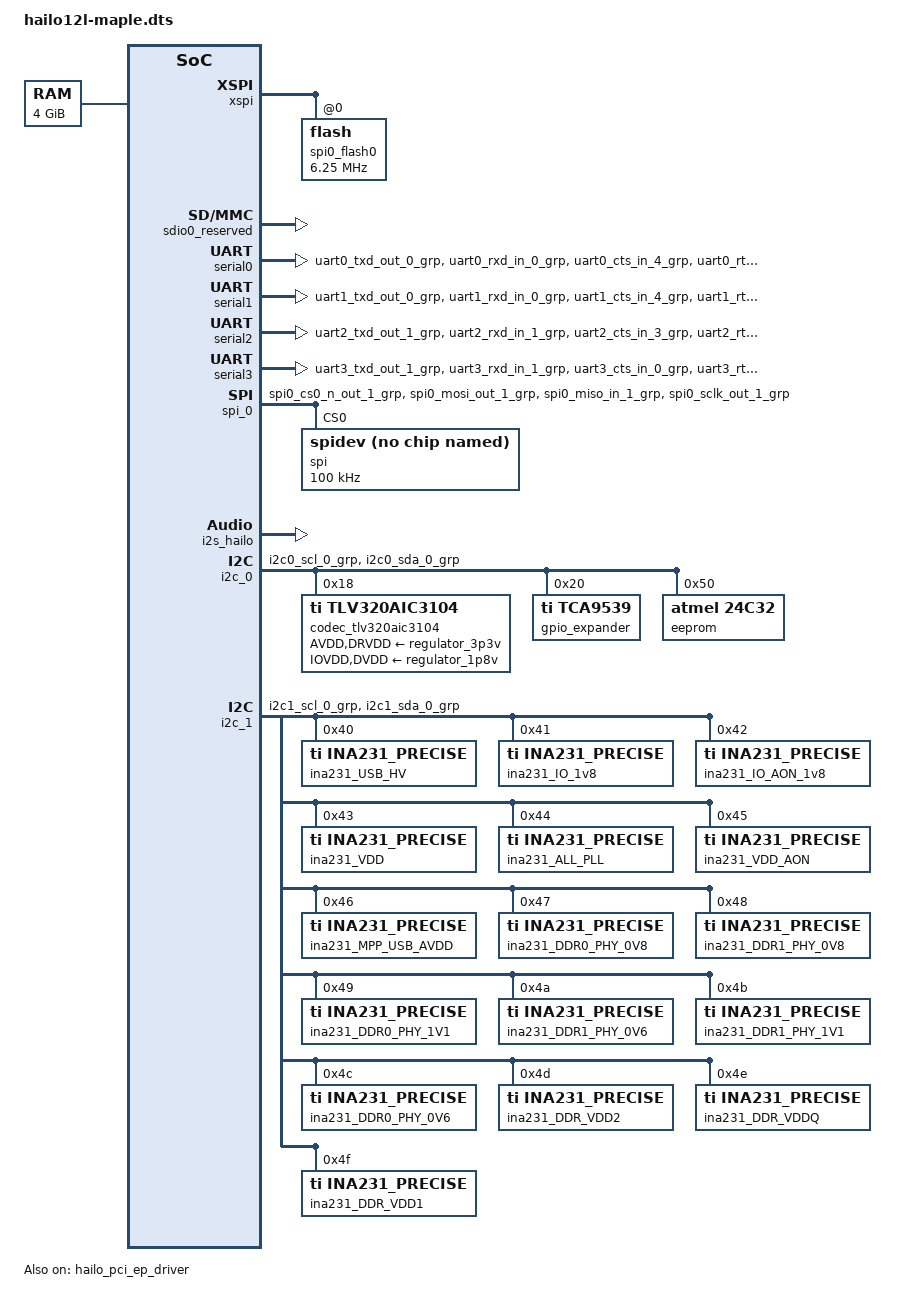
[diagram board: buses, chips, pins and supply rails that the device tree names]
// SPDX-License-Identifier:     GPL-2.0
/*
 * Copyright (c) 2019-2025 Hailo Technologies Ltd. All rights reserved.
 */

/dts-v1/;
#include "hailo12l-base.dtsi"

/ {
    memory {
        device_type = "memory";
        reg = <0x00000000 0x80000000 0x00000001 0x00000000>;
    };
};

&xspi {
    status = "okay";

    spi0_flash0: flash@0 {
        /* values for MT25QU01G */
        spi-max-frequency = <6250000>; /* 90Mhz in DTR, 166Mhz in STR */
        cdns,read-delay = <7>;
        cdns,tshsl-ns = <30>;
        cdns,tsd2d-ns = <30>;
        cdns,tchsh-ns = <5>;
        cdns,tslch-ns = <3>;
        pinctrl-names = "default";
        pinctrl-0 = <&pinctrl_flash_cs0_n>,
                    <&pinctrl_flash_dq_0_mosi>,
                    <&pinctrl_flash_dq_1_miso>,
                    <&pinctrl_flash_dq_2>,
                    <&pinctrl_flash_dq_3>,
                    <&pinctrl_flash_reset_n>,
                    <&pinctrl_flash_sclk>;

    };
};

&sdio0_reserved {
    status = "okay";
};

&sdio1 {
    status = "disabled";
    sdhci-caps = <0 0x01000000>; // Force VOLT33 capability
    sdhci-caps-mask = <0x00000002 0x00000000>;  // Disable support for SDR104
    bus-width = <4>;
    pinctrl-0 = <&pinctrl_SDIO_DATA0>, <&pinctrl_SDIO_DATA1> ,<&pinctrl_SDIO_DATA2>, <&pinctrl_SDIO_DATA3>,<&pinctrl_SDIO_CMD>,<&pinctrl_SDIO_SDCLK>;
    phy-config {
            card-is-emmc = <0x0>;
            cmd-pad-values = <0x1 0x3 0x1 0x1>; // txslew_ctrl_n, txslew_ctrl_p, weakpull_enable, rxsel
            dat-pad-values = <0x1 0x3 0x1 0x1>; // txslew_ctrl_n, txslew_ctrl_p, weakpull_enable, rxsel
            rst-pad-values = <0x1 0x3 0x1 0x1>; // txslew_ctrl_n, txslew_ctrl_p, weakpull_enable, rxsel
            clk-pad-values = <0x1 0x3 0x0 0x1>; // txslew_ctrl_n, txslew_ctrl_p, weakpull_enable, rxsel
            sdclkdl-cnfg = <0x0 0x50>; //extdly_en, cckdl_dc
            drive-strength = <0xC 0xC>; //pad_sp, pad_sn
    };
};

&soc{
    /* List all JTAG pinctrl phandles here */
    status = "okay";
    pinctrl-names = "default";
    pinctrl-0 = <&pinctrl_jtag_tck>, <&pinctrl_jtag_tdi>, <&pinctrl_jtag_tdo>,
                <&pinctrl_jtag_tms>, <&pinctrl_jtag_trstn_in>;
};

&serial0 {
    status = "okay";
    pinctrl-names = "default";
    pinctrl-0 = <&pinctrl_uart0_txd>, <&pinctrl_uart0_rxd>,<&pinctrl_gpio_7>,<&pinctrl_gpio_8>;
};

&serial1 {
    status = "okay";
    pinctrl-names = "default";
    pinctrl-0 = <&pinctrl_uart1_txd>, <&pinctrl_uart1_rxd>,<&pinctrl_gpio_9>,<&pinctrl_gpio_10>;
};

&serial2 {
    status = "okay";
    pinctrl-names = "default";
    pinctrl-0 = <&pinctrl_gpio_14>, <&pinctrl_gpio_13>,<&pinctrl_gpio_19>, <&pinctrl_gpio_20>;
};

&serial3 {
    status = "okay";
    pinctrl-names = "default";
    pinctrl-0 = <&pinctrl_gpio_16>, <&pinctrl_gpio_15> ,<&pinctrl_gpio_11>, <&pinctrl_gpio_12>;
};

&spi_0 {
    status = "okay";
    pinctrl-names = "default";
    pinctrl-0 = <&pinctrl_gpio_21>,
                <&pinctrl_gpio_22>,
                <&pinctrl_gpio_23>,
                <&pinctrl_gpio_24>;
    spi@0 {
        compatible = "spidev";
        reg = <0>;
        spi-max-frequency = <100000>;
    };
};

// OS TODO - I2S - pins are allocated but driver is not set. reference include "x_audio.dtsi"
&i2s_hailo {
    status = "okay";
    i2s_0_cpu: audio-controller-0@10d000 {
        status = "okay";
        pinctrl-names = "default";
        pinctrl-0 = <&pinctrl_i2s0_sck>,
                    <&pinctrl_i2s0_sdi>,
                    <&pinctrl_i2s0_sdo>,
                    <&pinctrl_i2s0_ws>;
        /* Possible audio-controller configuration to override into you specific board DTS.
         * - Master:
         *   - set one of the following:
         *     - HAILO_I2S_CTRL_CFG(0, XTAL);
         *     - HAILO_I2S_CTRL_CFG(0, PCLK);
         *     - HAILO_I2S_CTRL_CFG(0, FAST_ACLK);
         *     - HAILO_I2S_CTRL_CFG(0, EXTERNAL_MCLK, <OSC Hz>); - E.g: OSC Hz: 12288000
         * - Slave:
         *   - set: HAILO_I2S_CTRL_CFG(0, SLAVE_CLK); - default
         */
         HAILO_I2S_CTRL_CFG(0, PCLK);
    };
};




&i2c_0 {
    status = "okay";
    pinctrl-names = "default";
    pinctrl-0 = <&pinctrl_i2c0_scl>, <&pinctrl_i2c0_sda>;     /* these are non-muxable pins - leave this part for claiming the pins only for user display */

    codec_tlv320aic3104: tlv320aic3104@18 {
        #sound-dai-cells = <0>;
        compatible = "ti,tlv320aic3104";
        reg = <0x18>;
        /* @note, If using I2S Controller mode as:
         * - Master: set: ai3x-source-clk = "bclk";
         * - Slave: set: ai3x-source-clk = "mclk";
         */

        ai3x-source-clk = "bclk";
        ai3x-micbias-vg = <2>;
		/* Regulators */
		AVDD-supply = <&regulator_3p3v>;
		IOVDD-supply = <&regulator_1p8v>;
		DRVDD-supply = <&regulator_3p3v>;
		DVDD-supply = <&regulator_1p8v>;
    };

    gpio_expander: gpio@20 {
        compatible = "ti,tca9539";
        reg = <0x20>;
        gpio-controller;
        #gpio-cells = <2>;

        gpio-line-names =
        "EXP_PWR_EN", "EXP_BS_MODE_0", "EXP_BS_MODE_1", "EXP_BS_MODE_2",
        "EXP_BS_MODE_3", "PCIE_USB_L1_SEL", "SEL_EMMC_SD", "AON_PWR_CMD",
        "AON_PWR_STAT", "PWR_DCDC_CTRL", "BS_INIT_DBG_BUS", "BS_REF_CLK",
        "PWR_CTRL_EN", "D3_COLD_EN", "GPIO_18", "BS_CTRL_N";
    };

    regulator_0p8v: regulator-0p8v@40 {
       status = "disabled";
       compatible = "ti,tps62872";
       reg = <0x40>;
       regulator-name = "+0.8V";
       regulator-min-microvolt = <400000>;
       regulator-max-microvolt = <1037500>;
       regulator-initial-mode = <2>;
    };

    regulator_1p8v_tps62868: regulator_1p8v_tps62868@41 {
       status = "disabled";
       compatible = "ti,tps62868";
       reg = <0x41>;
       regulator-name = "+1.8V";
       regulator-min-microvolt = <400000>;
       regulator-max-microvolt = <1037500>;
       regulator-initial-mode = <2>;
    };

    eeprom@50 {
		compatible = "atmel,24c32";
		reg = <0x50>;
		pagesize = <32>;
	};
};

&i2c_1 {
    status = "okay";
    pinctrl-names = "default";
    pinctrl-0 = <&pinctrl_i2c1_scl>, <&pinctrl_i2c1_sda>;     /* these are non-muxable pins - leave this part for claiming the pins only for user display */

    ina231_USB_HV: USB_HV@40 {
        compatible = "ti,ina231_precise";
        reg = <0x40>;
        shunt-resistor = <10000>;
        max-current = <1>;
    };
    ina231_IO_1v8: IO_1v8@41 {
        compatible = "ti,ina231_precise";
        reg = <0x41>;
        shunt-resistor = <50>;
        max-current = <145>;
    };
    ina231_IO_AON_1v8: IO_AON_1v8@42 {
        compatible = "ti,ina231_precise";
        reg = <0x42>;
        shunt-resistor = <150>;
        max-current = <65>;
    };
    ina231_VDD: VDD@43 {
        compatible = "ti,ina231_precise";
        reg = <0x43>;
        shunt-resistor = <1>;
        max-current = <5000>;
    };
    ina231_ALL_PLL: ALL_PLL@44 {
        compatible = "ti,ina231_precise";
        reg = <0x44>;
        shunt-resistor = <200>;
        max-current = <22>;
    };
    ina231_VDD_AON: VDD_AON@45 {
        compatible = "ti,ina231_precise";
        reg = <0x45>;
        shunt-resistor = <10>;
        max-current = <250>;
    };
    ina231_MPP_USB_AVDD: MPP_USB_AVDD@46 {
        compatible = "ti,ina231_precise";
        reg = <0x46>;
        shunt-resistor = <50>;
        max-current = <159>;
    };
    ina231_DDR0_PHY_0V8: DDR0_PHY_0V8@47 {
        compatible = "ti,ina231_precise";
        reg = <0x47>;
        shunt-resistor = <2>;
        max-current = <1425>;
    };
    ina231_DDR1_PHY_0V8: DDR1_PHY_0V8@48 {
        compatible = "ti,ina231_precise";
        reg = <0x48>;
        shunt-resistor = <2>;
        max-current = <1425>;
    };
    ina231_DDR0_PHY_1V1: DDR0_PHY_1V1@49 {
        compatible = "ti,ina231_precise";
        reg = <0x49>;
        shunt-resistor = <50>;
        max-current = <152>;
    };
    ina231_DDR1_PHY_0V6: DDR1_PHY_0V6@4a {
        compatible = "ti,ina231_precise";
        reg = <0x4a>;
        shunt-resistor = <2>;
        max-current = <826>;
    };
    ina231_DDR1_PHY_1V1: DDR1_PHY_1V1@4b {
        compatible = "ti,ina231_precise";
        reg = <0x4b>;
        shunt-resistor = <50>;
        max-current = <152>;
    };
    ina231_DDR0_PHY_0V6: DDR0_PHY_0V6@4c {
        compatible = "ti,ina231_precise";
        reg = <0x4c>;
        shunt-resistor = <2>;
        max-current = <826>;
    };
    ina231_DDR_VDD2: DDR_VDD2@4d {
        compatible = "ti,ina231_precise";
        reg = <0x4d>;
        shunt-resistor = <10>;
        max-current = <689>;
    };
    ina231_DDR_VDDQ: DDR_VDDQ@4e {
        compatible = "ti,ina231_precise";
        reg = <0x4e>;
        shunt-resistor = <50>;
        max-current = <176>;
    };
    ina231_DDR_VDD1: DDR_VDD1@4f {
        compatible = "ti,ina231_precise";
        reg = <0x4f>;
        shunt-resistor = <1000>;
        max-current = <9>;
    };
};

&hailo_pci_ep_driver {
    status = "okay";
    pinctrl-names = "default";
    /*The Pcie pins should be claimed by this driver.*/
    pinctrl-0 = <&pinctrl_pcie_wake_n>,  <&pinctrl_pcie_clkreq_n>,
                <&pinctrl_pcie_perst_n_in>;
};

&pinctrl {
    /* IO_PAD_0  - I2C0_SCL - non-muxable */
    pinctrl_i2c0_scl: i2c0_scl {
        function = "i2c0_scl";
        groups = "i2c0_scl_0_grp";
    };

    /* IO_PAD_1  - I2C0_SDA - non-muxable */
    pinctrl_i2c0_sda: i2c0_sda {
        function = "i2c0_sda";
        groups = "i2c0_sda_0_grp";
    };

    /* IO_PAD_2  - I2C1_SCL - non-muxable */
    pinctrl_i2c1_scl: i2c1_scl {
        function = "i2c1_scl";
        groups = "i2c1_scl_0_grp";
    };

    /* IO_PAD_3  - I2C1_SDA - non-muxable */
        pinctrl_i2c1_sda: i2c1_sda {
        function = "i2c1_sda";
        groups = "i2c1_sda_0_grp";
    };

    /* IO_PAD_4 */
    pinctrl_uart0_rxd: uart0_rxd {
        function = "uart0_rxd_in";
        groups = "uart0_rxd_in_0_grp";
    };

    /* IO_PAD_5 */
    pinctrl_uart0_txd: uart0_txd {
        function = "uart0_txd_out";
        groups = "uart0_txd_out_0_grp";
    };

    /* IO_PAD_6 */
    pinctrl_uart1_rxd: uart1_rxd {
        function = "uart1_rxd_in";
        groups = "uart1_rxd_in_0_grp";
    };

    /* IO_PAD_7 */
    pinctrl_uart1_txd: uart1_txd {
        function = "uart1_txd_out";
        groups = "uart1_txd_out_0_grp";
    };

    /* IO_PAD_8 */
    pinctrl_i2s0_sck: i2s0_sck {
        function = "i2s0_sck";
        groups = "i2s0_sck_0_grp";
    };

    /* IO_PAD_9 */
    pinctrl_i2s0_sdi: i2s0_sdi0 {
        function = "i2s0_sdi0_in";
        groups = "i2s0_sdi0_in_0_grp";
    };

    /* IO_PAD_10 */
    pinctrl_i2s0_sdo: i2s0_sdo0 {
        function = "i2s0_sdo0_out";
        groups = "i2s0_sdo0_out_0_grp";
    };

    /* IO_PAD_11 */
    pinctrl_i2s0_ws: i2s0_ws {
        function = "i2s0_ws";
        groups = "i2s0_ws_0_grp";
    };

    /* IO_PAD_12 */
	pinctrl_flash_cs0_n: flash_cs0_n_out {
	    function = "flash_spi_cs_0_n_out";
        groups = "flash_spi_cs_0_n_out_grp";
    };

    /* IO_PAD_13 */
    pinctrl_flash_dq_0_mosi: flash_dq_0_mosi_in {
	    function = "flash_spi_dq_0";
        groups = "flash_spi_dq_0_grp";
    };

    /* IO_PAD_14 */
    pinctrl_flash_dq_1_miso: flash_dq_1_miso_in {
	    function = "flash_spi_dq_1";
        groups = "flash_spi_dq_1_grp";
    };

    /* IO_PAD_15 */
    pinctrl_flash_dq_2: flash_dq_2_in {
	    function = "flash_spi_dq_2";
        groups = "flash_spi_dq_2_grp";
    };

    /* IO_PAD_16 */
    pinctrl_flash_dq_3: flash_dq_3_in {
	    function = "flash_spi_dq_3";
        groups = "flash_spi_dq_3_grp";
    };

    /* IO_PAD_17 */
    pinctrl_flash_reset_n: flash_reset_n_out {
	    function = "flash_spi_reset_n_out";
        groups = "flash_spi_reset_n_out_grp";
    };

    /* IO_PAD_18 */
    pinctrl_flash_sclk: flash_sclk_out {
	    function = "flash_spi_sclk_out";
        groups = "flash_spi_sclk_out_grp";
    };


    /* IO_PAD_19 */
    pinctrl_pcie_wake_n: pcie_wake_n {
        function = "pcie_wake_n";
        groups = "pcie_wake_n_grp";
    };

    /* IO_PAD_20 */
    pinctrl_pcie_clkreq_n: pcie_clkreq_n {
        function = "pcie_clkreq_n";
        groups = "pcie_clkreq_n_grp";
    };

    /* IO_PAD_21 */
    pinctrl_pcie_perst_n_in: pcie_perst_n_in {
        function = "pcie_perst_n_in";
        groups = "pcie_perst_n_in_grp";
    };

    /* IO_PAD_22 */
    pinctrl_SDIO_DATA0: SDIO_DATA0 {
        function = "SDIO_DATA0";
        groups = "SDIO_DATA0_grp";
    };

    /* IO_PAD_23 */
    pinctrl_SDIO_DATA1: SDIO_DATA1 {
        function = "SDIO_DATA1";
        groups = "SDIO_DATA1_grp";
    };

    /* IO_PAD_24 */
    pinctrl_SDIO_DATA2: SDIO_DATA2 {
        function = "SDIO_DATA2";
        groups = "SDIO_DATA2_grp";
    };

    /* IO_PAD_25 */
    pinctrl_SDIO_DATA3: SDIO_DATA3 {
        function = "SDIO_DATA3";
        groups = "SDIO_DATA3_grp";
    };

    /* IO_PAD_26 */
    pinctrl_SDIO_CMD: SDIO_CMD {
        function = "SDIO_CMD";
        groups = "SDIO_CMD_grp";
    };

    /* IO_PAD_27 */
    pinctrl_SDIO_SDCLK: SDIO_SDCLK {
        function = "SDIO_SDCLK";
        groups = "SDIO_SDCLK_grp";
    };

    /* IO_PAD_28 - SAFETY_FATAL_N - non-muxable */

    /* IO_PAD_29 */
    pinctrl_jtag_tck: jtag_tck_in {
        function = "jtag_tck_in";
        groups = "jtag_tck_in_grp";
    };

    /* IO_PAD_30 */
    pinctrl_jtag_tdi: jtag_tdi_in {
        function = "jtag_tdi_in";
        groups = "jtag_tdi_in_grp";
    };

    /* IO_PAD_31 */
    pinctrl_jtag_tdo: jtag_tdo_out {
        function = "jtag_tdo_out";
        groups = "jtag_tdo_out_grp";
    };

    /* IO_PAD_32 */
    pinctrl_jtag_tms: jtag_tms {
        function = "jtag_tms";
        groups = "jtag_tms_grp";
    };

    /* IO_PAD_33 */
    pinctrl_jtag_trstn_in: jtag_trstn_in {
        function = "jtag_trstn_in";
        groups = "jtag_trstn_in_grp";
    };

    /* IO_PAD_34 */
    pinctrl_gpio_0: gpio_0 {
        function = "aon_pwr_ctrl_out";
        groups = "aon_pwr_ctrl_out_0_grp";
    };

    /* IO_PAD_35 */
    pinctrl_gpio_1: gpio_1 {
        function = "VDD_SWITCH_PG";
        groups = "VDD_SWITCH_PG_grp";
    };

    /* IO_PAD_36  */ 
    pinctrl_gpio_2: gpio_2 {
        function = "gpio2";
        groups = "gpio2_grp";
    };

    /* IO_PAD_37 */
    pinctrl_gpio_3: gpio_3 {
        function = "aon_pwr_cmd_in";
        groups = "aon_pwr_cmd_in_2_grp";
    };

    /* IO_PAD_38 */
    pinctrl_gpio_4: gpio_4 {
        function = "aon_pwr_stat_out";
        groups = "aon_pwr_stat_out_1_grp";
    };

    /* IO_PAD_39 */
    pinctrl_gpio_5: gpio_5 {
        function = "boot_rom_failure_out";
        groups = "boot_rom_failure_out_grp";
    };

    /* IO_PAD_40 */
    pinctrl_gpio_6: gpio_6 {
        function = "gpio6";
        groups = "gpio6_grp";
    };

    /* IO_PAD_41 */
    pinctrl_gpio_7: gpio_7 {
        function = "uart0_cts_in";
        groups = "uart0_cts_in_4_grp";
    };

    /* IO_PAD_42 */
    pinctrl_gpio_8: gpio_8 {
        function = "uart0_rts_out";
        groups = "uart0_rts_out_5_grp";
    };

    /* IO_PAD_43 */
    pinctrl_gpio_9: gpio_9 {
        function = "uart1_cts_in";
        groups = "uart1_cts_in_4_grp";
    };

    /* IO_PAD_44 */
    pinctrl_gpio_10: gpio_10 {
        function = "uart1_rts_out";
        groups = "uart1_rts_out_5_grp";
    };

    /* IO_PAD_45 */
    pinctrl_gpio_11: gpio_11 {
        function = "uart3_cts_in";
        groups = "uart3_cts_in_0_grp";
    };

    /* IO_PAD_46 */
    pinctrl_gpio_12: gpio_12 {
        function = "uart3_rts_out";
        groups = "uart3_rts_out_0_grp";
    };

    /* IO_PAD_47 */
    pinctrl_gpio_13: gpio_13 {
        function = "uart2_rxd_in";
        groups = "uart2_rxd_in_1_grp";
    };

    /* IO_PAD_48 */
    pinctrl_gpio_14: gpio_14 {
        function = "uart2_txd_out";
        groups = "uart2_txd_out_1_grp";
    };

    /* IO_PAD_49 */
    pinctrl_gpio_15: gpio_15 {
        function = "uart3_rxd_in";
        groups = "uart3_rxd_in_1_grp";
    };

    /* IO_PAD_50 */
    pinctrl_gpio_16: gpio_16 {
        function = "uart3_txd_out";
        groups = "uart3_txd_out_1_grp";
    };

    /* IO_PAD_51 */
    pinctrl_gpio_17: gpio_17 {
        function = "gpio17";
        groups = "gpio17_1_grp";
    };

    /* IO_PAD_52 */
    pinctrl_gpio_18: gpio18 {
        function = "gpio18";
        groups = "gpio18_1_grp";
    };

    /* IO_PAD_53 */
    pinctrl_gpio_19: gpio_19 {
        function = "uart2_cts_in";
        groups = "uart2_cts_in_3_grp";
    };

    /* IO_PAD_54 */
    pinctrl_gpio_20: gpio_20 {
        function = "uart2_rts_out";
        groups = "uart2_rts_out_3_grp";
    };

    /* IO_PAD_55 */
    pinctrl_gpio_21: gpio_21 {
        function = "spi0_cs0_n_out";
        groups = "spi0_cs0_n_out_1_grp";
    };

    /* IO_PAD_56 */
    pinctrl_gpio_22: gpio_22 {
        function = "spi0_mosi_out";
        groups = "spi0_mosi_out_1_grp";
    };

    /* IO_PAD_57 */
    pinctrl_gpio_23: gpio_23 {
        function = "spi0_miso_in";
        groups = "spi0_miso_in_1_grp";
    };

    /* IO_PAD_58 */
    pinctrl_gpio_24: gpio_24 {
        function = "spi0_sclk_out";
        groups = "spi0_sclk_out_1_grp";
    };
};

#define GPIO_LINE_NAMES \
    "gpio_0 - aon_pwr_ctrl",                         "gpio_1 - VDD_SW_PG",                     "gpio_2 - ddr_phy_data_retention",                         "gpio_3 - aon_pwr_cmd", \
    "gpio_4 - aon_pwr_stat",                         "gpio_5 - boot_rom_failure",                     "gpio_6",                         "", \
    "",                         "",                     "",                         "", \
    "",                         "",                     "",                         "", \
    \
    "",                         "gpio_17",                     "gpio_18",                         "", \
    "",                         "",                     "",                         "", \
    "",                         "",                     "",                         "", \
    "",                         "",                     "",                         ""


&gpio0 {
    status = "okay";
    /* The format of gpio-ranges is: <[pin controller phandle], [GPIO controller offset],
                [pin controller offset], [number of pins]>;
    */
    pinctrl-names = "default";
    pinctrl-0 = <&pinctrl_gpio_0>, <&pinctrl_gpio_1>, <&pinctrl_gpio_2>, <&pinctrl_gpio_3>,
                <&pinctrl_gpio_4>, <&pinctrl_gpio_5>, <&pinctrl_gpio_6>;
    gpio-ranges =   <&pinctrl 0 34 7>;

    gpio-line-names = GPIO_LINE_NAMES;
};

&gpio1 {
    status = "okay";
    /* The format of gpio-ranges is: <[pin controller phandle], [GPIO controller offset],
                [pin controller offset], [number of pins]>;
    */
    pinctrl-names = "default";
    pinctrl-0 = <&pinctrl_gpio_17>, <&pinctrl_gpio_18>;
    gpio-ranges =   <&pinctrl 17 51 2>;

    gpio-line-names = GPIO_LINE_NAMES;
};

/delete-node/ &cpu_1;
